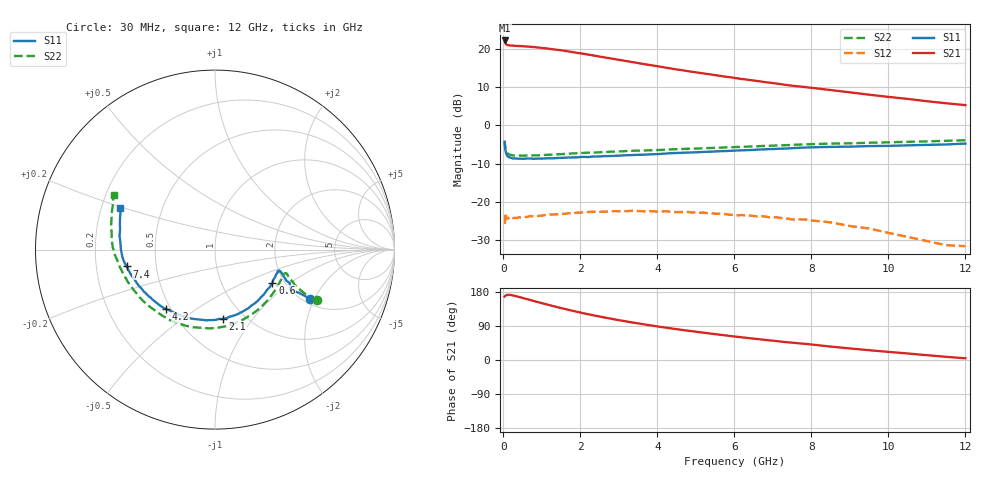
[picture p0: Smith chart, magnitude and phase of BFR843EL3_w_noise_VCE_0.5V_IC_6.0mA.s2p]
! Infineon Technologies  Discrete & RF Semiconductors
! BFR843EL3
! VCE =  0.5 V,  IC =  6.0 mA
! Common Emitter S-Parameters:  Aug 2013
# GHz  S  MA  R  50
!  f  S11  S21  S12  S22
! GHz  MAG  ANG  MAG  ANG  MAG  ANG  MAG  ANG
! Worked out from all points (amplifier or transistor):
!   103 points, 30 MHz to 12 GHz, reference 50 ohm
!   highest |S21| = 22.2 dB at 30 MHz (marker M1)
!   |S21| within 3 dB of that: start of sweep to 1.774 GHz
!   unconditionally stable (mu >= 1): 6.828 GHz to end of sweep
!   at 400 MHz: K = 0.99, MSG = 22.4 dB, |S12| = -24.0 dB
!   at 3.7 GHz: K = 0.74, MSG = 19.2 dB, |S12| = -22.5 dB
!   at 12 GHz: K = 3.81, MAG = 9.7 dB, |S12| = -31.5 dB
!   lowest NFmin = 0.89 dB at 450 MHz
!   S11 on the Smith chart (normalised r, x): 30 MHz: 2.17, -1.86; 600 MHz: 1.73, -0.75; 2.1 GHz: 0.80, -0.73; 4.2 GHz: 0.47, -0.38; 7.4 GHz: 0.33, -0.08; 12 GHz: 0.28, +0.20
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0.03  0.5983 -27.4  12.88 167.5  0.052 33.2  0.6348 -26.4
0.04  0.527 -27.2  12.28 168.3  0.054 26.9  0.5617 -26.2
0.06  0.456 -24.0  11.63 170.0  0.0601 13.8  0.4874 -24.0
0.09  0.4097 -21.2  11.29 171.6  0.0612 12.5  0.4443 -20.7
0.15  0.3848 -18.4  11.08 172.0  0.0634 8.7  0.4161 -18.4
0.25  0.3693 -19.1  11.03 170.3  0.0617 5.6  0.4058 -19.6
0.6  0.3696 -30.2  10.74 161.0  0.0637 5.8  0.405 -33.5
1  0.3688 -45.8  10.29 150.0  0.0664 5.7  0.4111 -51.3
1.4  0.3756 -60.4  9.714 139.5  0.0692 4.8  0.4199 -67.4
1.7  0.3813 -70.9  9.25 132.1  0.0716 3.1  0.4277 -78.7
2.1  0.3885 -83.6  8.583 122.9  0.0733 1.6  0.4382 -92.1
2.6  0.3973 -97.3  7.781 112.6  0.075 -0.6  0.4499 -105.9
3  0.4035 -106.6  7.179 105.2  0.0757 -3.5  0.4584 -115.6
3.5  0.4135 -117.4  6.524 96.5  0.0762 -6.1  0.4682 -126.2
4.1  0.4255 -127.8  5.823 87.1  0.0752 -8.9  0.4789 -136.5
4.2  0.4288 -129.3  5.703 85.6  0.0757 -9.8  0.4823 -138.2
5.1  0.4476 -143.3  4.857 73.2  0.0723 -14.9  0.5008 -151.1
6.1  0.4715 -155.4  4.107 61.0  0.0668 -18.9  0.5241 -163.0
7.4  0.5011 -169.2  3.353 46.6  0.0606 -23.6  0.554 -175.7
8.5  0.5246 179.7  2.898 35.4  0.0542 -28.2  0.579 174.2
10.5  0.5494 164.8  2.222 17.2  0.035 -26.2  0.6113 160.2
12  0.5799 156.2  1.843 4.5  0.0265 -2.8  0.6408 151.8
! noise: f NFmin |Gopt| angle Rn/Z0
0.45  0.89  0.14  15  0.14
0.9  0.89  0.15  33  0.14
1.5  0.93  0.16  47  0.14
1.9  0.95  0.16  51  0.14
2.4  0.97  0.17  64  0.13
3.5  1.01  0.18  85  0.13
5.5  1.09  0.22  121  0.11
8  1.18  0.31  161  0.08
10  1.25  0.41  206  0.05
